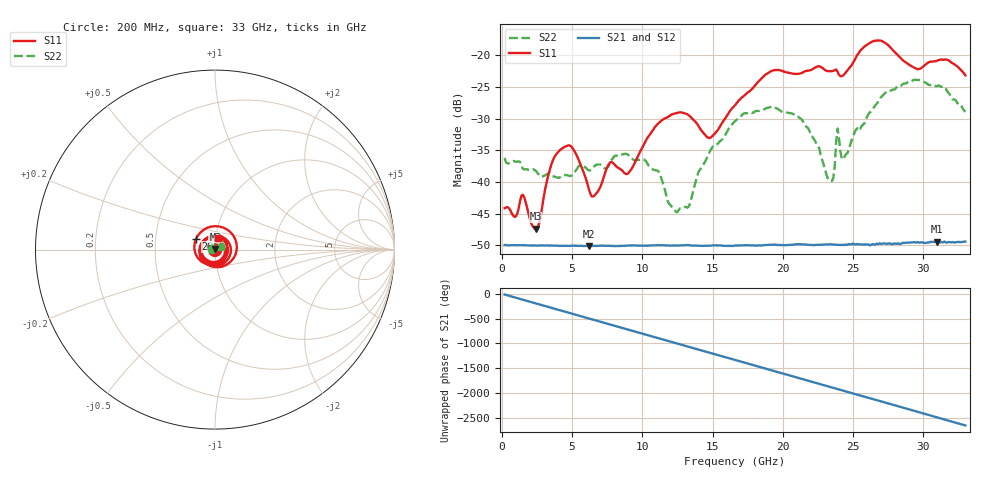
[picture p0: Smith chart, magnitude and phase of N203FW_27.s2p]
# GHZ S RI R 50
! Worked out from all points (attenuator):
!   329 points, 200 MHz to 33 GHz, reference 50 ohm
!   highest |S21| = -49.40 dB at 31 GHz (marker M1); lowest = -50.1 dB at 6.2 GHz (marker M2)
!   lowest |S11| = -47.4 dB at 2.4 GHz (marker M3), VSWR 1.01, Z = 50.2 + j0.355 ohm
!   |S11| at or under -10 dB: start of sweep to end of sweep
!   |S22| runs from -44.7 to -23.9 dB; largest |S21 - S12| = 8.8e-05
!   S11 on the Smith chart (normalised r, x): 200 MHz: 1.01, +0.00; 26 GHz: 0.80, +0.10; 33 GHz: 1.03, +0.14
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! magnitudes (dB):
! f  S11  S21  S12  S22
! 200 MHz  -44.1  -50.0  -49.9  -36.2
! 1.5 GHz  -42.0  -50.0  -50.0  -37.9
! 2.4 GHz  -47.4  -50.0  -50.0  -38.2
! 3.9 GHz  -35.5  -50.0  -50.1  -39.3
! 5.7 GHz  -37.8  -50.1  -50.1  -37.5
! 6.2 GHz  -41.1  -50.1  -50.1  -38.2
! 7.8 GHz  -36.8  -50.1  -50.1  -36.6
! 9 GHz  -38.6  -50.0  -50.0  -35.7
! 11.2 GHz  -30.6  -50.0  -50.0  -38.5
! 11.9 GHz  -29.6  -50.0  -50.0  -43.4
! 13.2 GHz  -29.3  -49.9  -49.9  -44.0
! 14.8 GHz  -33.1  -50.0  -50.0  -35.2
! 16.6 GHz  -27.9  -50.0  -50.0  -30.4
! 19.3 GHz  -22.4  -49.9  -49.9  -28.1
! 22.1 GHz  -22.2  -49.9  -49.9  -32.8
! 23.5 GHz  -22.5  -49.9  -49.8  -39.8
! 23.9 GHz  -22.6  -49.9  -49.9  -31.6
! 24.3 GHz  -23.2  -49.9  -49.8  -36.5
! 26 GHz  -18.3  -49.9  -49.8  -29.7
! 27.6 GHz  -18.6  -49.7  -49.7  -25.7
! 31 GHz  -20.8  -49.4  -49.4  -24.9
! 33 GHz  -23.2  -49.4  -49.4  -28.9
